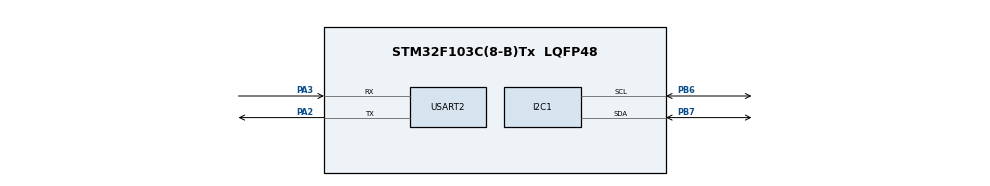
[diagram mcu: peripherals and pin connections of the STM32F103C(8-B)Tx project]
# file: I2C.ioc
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Mcu.Family=STM32F1
Mcu.Name=STM32F103C(8-B)Tx
Mcu.Package=LQFP48
NVIC.PriorityGroup=NVIC_PRIORITYGROUP_4
PA13.Mode=Serial_Wire
PA13.Signal=SYS_JTMS-SWDIO
PA14.Mode=Serial_Wire
PA14.Signal=SYS_JTCK-SWCLK
PA2.Mode=Asynchronous
PA2.Signal=USART2_TX
PA3.Mode=Asynchronous
PA3.Signal=USART2_RX
PB6.Mode=I2C
PB6.Signal=I2C1_SCL
PB7.Mode=I2C
PB7.Signal=I2C1_SDA
ProjectManager.HeapSize=0x200
ProjectManager.StackSize=0x400
ProjectManager.TargetToolchain=MDK-ARM V5.27
RCC.APB1Freq_Value=8000000
RCC.APB2Freq_Value=8000000
USART2.VirtualMode=VM_ASYNC
board=custom

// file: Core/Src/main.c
/* USER CODE BEGIN Header */
/**
  ******************************************************************************
  * @file           : main.c
  * @brief          : Main program body
  ******************************************************************************
  * @attention
  *
  * Copyright (c) 2025 STMicroelectronics.
  * All rights reserved.
  *
  * This software is licensed under terms that can be found in the LICENSE file
  * in the root directory of this software component.
  * If no LICENSE file comes with this software, it is provided AS-IS.
  *
  ******************************************************************************
  */
/* USER CODE END Header */
#include "main.h"
#include "i2c.h"
#include "usart.h"
#include "gpio.h"

/* USER CODE BEGIN Includes */
#include <stdio.h>
#include <string.h>
/* USER CODE END Includes */

void SystemClock_Config(void);

/* USER CODE BEGIN 0 */
void AHT20_Init(){		//AHT20初始化函数
	uint8_t read;
	uint8_t sendBE[3]={0xBE,0x08,0x00};	//初始化指令
	HAL_Delay(40);							//上电后等待40ms
	HAL_I2C_Master_Receive(&hi2c1,0x70,&read,1,HAL_MAX_DELAY);	//获取状态位校准

	if((read & 0x08)==0x00){	//判断返回值第3位是否为1
		HAL_I2C_Master_Transmit(&hi2c1,0x70,sendBE,3,HAL_MAX_DELAY);	//发送初始化指令
		HAL_Delay(10);
	}
}

void AHT20_RE(float *T,float *RH){		//温湿度测量函数
	uint8_t sendAC[3]={0xAC,0x33,0x00};	//AC命令触发测量
	uint8_t readData[6];

	HAL_I2C_Master_Transmit(&hi2c1,0x70,sendAC,3,HAL_MAX_DELAY);	//发送测量指令
	HAL_Delay(80);
	HAL_I2C_Master_Receive(&hi2c1,0x70,readData,6,HAL_MAX_DELAY);	//返回数据接收

	if((readData[0] & 0x80)==0x00){	//判断第7位是否为1
		uint32_t data=0;
		data =((uint32_t)readData[3]>>4)+((uint32_t)readData[2]<<4)+((uint32_t)readData[1]<<12);//湿度数据拼接
		*RH=data*100.0f/(1<<20);	//湿度计算

		data =(((uint32_t)readData[3] & 0x0F)<<16)+((uint32_t)readData[4]<<8)+((uint32_t)readData[5]);//温度数据拼接
		*T=data*200.0f/(1<<20)-50;	//温度计算
	}
}
/* USER CODE END 0 */

int main(void)
{

  /* MCU Configuration--------------------------------------------------------*/

  /* Reset of all peripherals, Initializes the Flash interface and the Systick. */
  HAL_Init();

  /* Configure the system clock */
  SystemClock_Config();

  /* Initialize all configured peripherals */
  MX_GPIO_Init();
  MX_I2C1_Init();
  MX_USART2_UART_Init();
  /* USER CODE BEGIN 2 */
  AHT20_Init();
  float T,RH;
  char message[50];
  /* USER CODE END 2 */

  /* Infinite loop */
  while (1)
  {

    /* USER CODE BEGIN 3 */
	  AHT20_RE(&T,&RH);	//调用温湿度测量函数
	  sprintf(message,"温度:%.1f℃,湿度:%.1f %%\r\n",T,RH);	//拼接输出字符
	  HAL_UART_Transmit(&huart2,(uint8_t*)message,strlen(message),HAL_MAX_DELAY);	//串口发送信息
	  HAL_Delay(2000);	//延时2s
  }
  /* USER CODE END 3 */
}

void SystemClock_Config(void)
{
  RCC_OscInitTypeDef RCC_OscInitStruct = {0};
  RCC_ClkInitTypeDef RCC_ClkInitStruct = {0};

  /** Initializes the RCC Oscillators according to the specified parameters
  * in the RCC_OscInitTypeDef structure.
  */
  RCC_OscInitStruct.OscillatorType = RCC_OSCILLATORTYPE_HSI;
  RCC_OscInitStruct.HSIState = RCC_HSI_ON;
  RCC_OscInitStruct.HSICalibrationValue = RCC_HSICALIBRATION_DEFAULT;
  RCC_OscInitStruct.PLL.PLLState = RCC_PLL_NONE;
  if (HAL_RCC_OscConfig(&RCC_OscInitStruct) != HAL_OK)
  {
    Error_Handler();
  }

  /** Initializes the CPU, AHB and APB buses clocks
  */
  RCC_ClkInitStruct.ClockType = RCC_CLOCKTYPE_HCLK|RCC_CLOCKTYPE_SYSCLK
                              |RCC_CLOCKTYPE_PCLK1|RCC_CLOCKTYPE_PCLK2;
  RCC_ClkInitStruct.SYSCLKSource = RCC_SYSCLKSOURCE_HSI;
  RCC_ClkInitStruct.AHBCLKDivider = RCC_SYSCLK_DIV1;
  RCC_ClkInitStruct.APB1CLKDivider = RCC_HCLK_DIV1;
  RCC_ClkInitStruct.APB2CLKDivider = RCC_HCLK_DIV1;

  if (HAL_RCC_ClockConfig(&RCC_ClkInitStruct, FLASH_LATENCY_0) != HAL_OK)
  {
    Error_Handler();
  }
}

void Error_Handler(void)
{
  __disable_irq();
  while (1)
  {
  }
}
